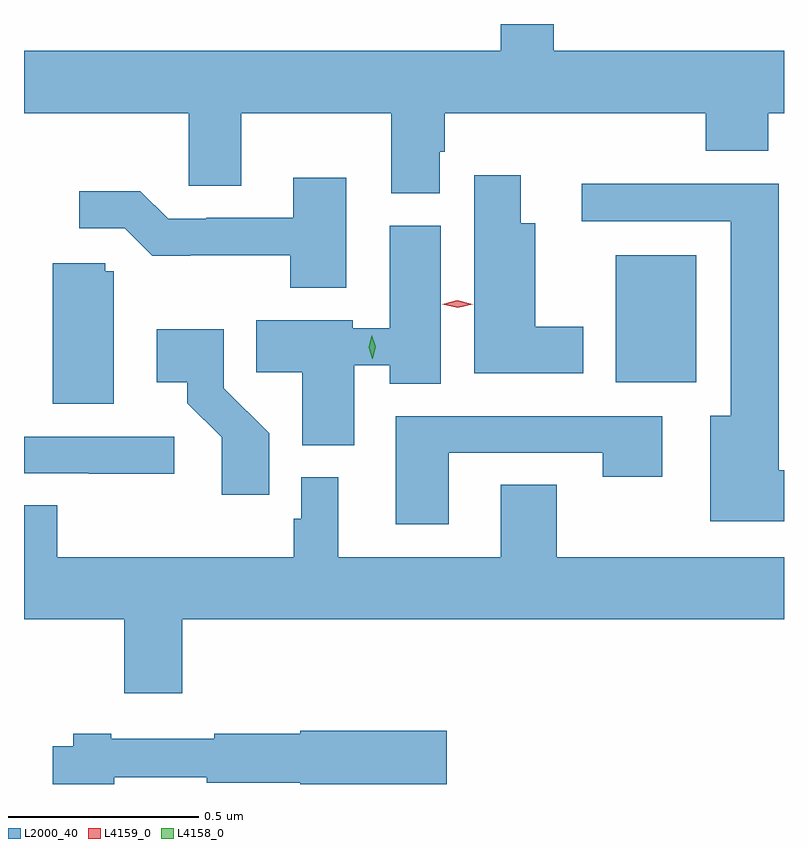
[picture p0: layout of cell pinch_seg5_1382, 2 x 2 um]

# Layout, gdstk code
import gdstk
lib = gdstk.Library(unit=1e-6, precision=1e-09)
def R(c, l, rs):  # rectangles x0, y0, x1, y1
    for r in rs: c.add(gdstk.rectangle(r[:2], r[2:], *l))
def P(c, l, *ps):  # polygons
    for p in ps: c.add(gdstk.Polygon(p, *l))
L2000_40 = (2000, 40)
L4158_0 = (4158, 0)
L4159_0 = (4159, 0)

pinch_seg5_1382 = lib.new_cell('pinch_seg5_1382')
R(pinch_seg5_1382, L2000_40, [(251.426,908,251.638,908.335)])
P(pinch_seg5_1382, L2000_40, [(250.963,908.607),(250.976,908.607),(250.976,908.708),(251.663,908.708),(251.663,908.609),(251.828,908.609),(251.828,908.708),(251.869,908.708),(251.869,908.872),(251.263,908.872),(251.263,908.943),(251.123,908.943),(251.123,908.872),(249.869,908.872),(249.869,908.708),(250.302,908.708),(250.302,908.518),(250.441,908.518),(250.441,908.708),(250.835,908.708),(250.835,908.497),(250.963,908.497)],
  [(251.341,908.146),(251.215,908.146),(251.215,908.419),(251.176,908.419),(251.176,908.545),(251.054,908.545),(251.054,908.024),(251.341,908.024)],
  [(250.717,908.539),(250.577,908.539),(250.577,908.433),(250.348,908.433),(250.348,908.43),(250.248,908.43),(250.175,908.503),(250.014,908.503),(250.014,908.406),(250.134,908.406),(250.207,908.333),(250.306,908.333),(250.306,908.334),(250.57,908.334),(250.57,908.249),(250.717,908.249)],
  [(251.869,907.769),(251.855,907.769),(251.855,908.522),(251.337,908.522),(251.337,908.424),(251.729,908.424),(251.729,907.912),(251.675,907.912),(251.675,907.634),(251.869,907.634)],
  [(250.738,908.045),(250.832,908.045),(250.832,907.996),(250.966,907.996),(250.966,908.412),(250.832,908.412),(250.832,908.142),(250.734,908.142),(250.734,908.164),(250.48,908.164),(250.48,908.026),(250.601,908.026),(250.601,907.835),(250.738,907.835)],
  [(250.105,908.292),(250.083,908.292),(250.083,908.313),(249.944,908.313),(249.944,907.944),(250.105,907.944)],
  [(250.514,907.866),(250.395,907.985),(250.395,908.14),(250.218,908.14),(250.218,908),(250.298,908),(250.298,907.945),(250.389,907.855),(250.389,907.704),(250.514,907.704)],
  [(250.987,907.815),(251.392,907.815),(251.392,907.752),(251.548,907.752),(251.548,907.911),(250.847,907.911),(250.847,907.626),(250.987,907.626)],
  [(250.264,907.857),(249.869,907.857),(249.869,907.761),(250.039,907.761),(250.039,907.759),(250.264,907.759)],
  [(250.286,907.376),(251.869,907.376),(251.869,907.54),(251.271,907.54),(251.271,907.73),(251.123,907.73),(251.123,907.54),(250.696,907.54),(250.696,907.75),(250.599,907.75),(250.599,907.641),(250.579,907.641),(250.579,907.54),(249.956,907.54),(249.956,907.676),(249.869,907.676),(249.869,907.376),(250.133,907.376),(250.133,907.182),(250.286,907.182)],
  [(250.106,906.961),(250.35,906.961),(250.35,906.946),(250.596,906.946),(250.596,906.943),(250.981,906.943),(250.981,907.083),(250.596,907.083),(250.596,907.075),(250.369,907.075),(250.369,907.062),(250.099,907.062),(250.099,907.075),(249.999,907.075),(249.999,907.042),(249.944,907.042),(249.944,906.943),(250.106,906.943)])
P(pinch_seg5_1382, L4158_0, [(250.786,908.062),(250.776,908.093),(250.784,908.124),(250.784,908.124),(250.784,908.124),(250.795,908.094),(250.787,908.062),(250.787,908.062)])
P(pinch_seg5_1382, L4159_0, [(251.01,908.196),(250.969,908.205),(250.969,908.206),(250.969,908.206),(251.009,908.216),(251.05,908.206),(251.05,908.206),(251.05,908.206)])

lib.write_gds('pinch_seg5_1382.gds')
